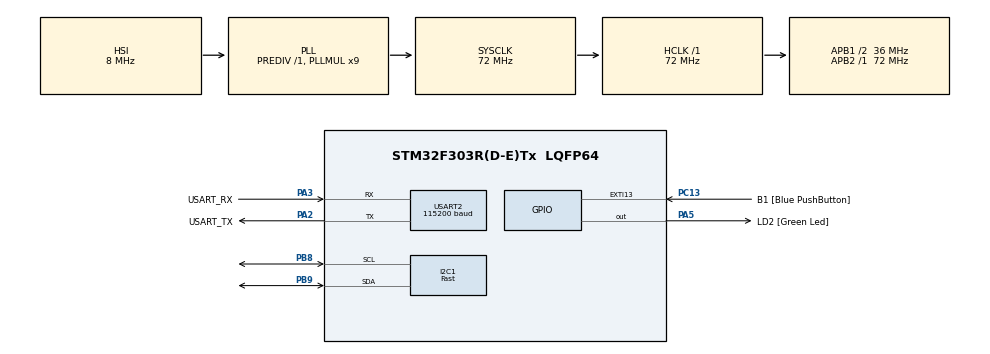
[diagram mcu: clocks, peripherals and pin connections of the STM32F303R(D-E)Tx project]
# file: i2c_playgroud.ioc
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I2C1.I2C_Speed_Mode=I2C_Fast
I2C1.Timing=0x0000020B
Mcu.Family=STM32F3
Mcu.Name=STM32F303R(D-E)Tx
Mcu.Package=LQFP64
NVIC.PriorityGroup=NVIC_PRIORITYGROUP_0
PA13.GPIO_Label=TMS
PA13.Mode=Serial_Wire
PA13.Signal=SYS_JTMS-SWDIO
PA14.GPIO_Label=TCK
PA14.Mode=Serial_Wire
PA14.Signal=SYS_JTCK-SWCLK
PA2.GPIO_Label=USART_TX
PA2.GPIO_Mode=GPIO_MODE_AF_PP
PA2.GPIO_PuPd=GPIO_NOPULL
PA2.GPIO_Speed=GPIO_SPEED_FREQ_LOW
PA2.Mode=Asynchronous
PA2.Signal=USART2_TX
PA3.GPIO_Label=USART_RX
PA3.GPIO_Mode=GPIO_MODE_AF_PP
PA3.GPIO_PuPd=GPIO_NOPULL
PA3.GPIO_Speed=GPIO_SPEED_FREQ_LOW
PA3.Mode=Asynchronous
PA3.Signal=USART2_RX
PA5.GPIO_Label=LD2 [Green Led]
PA5.GPIO_Mode=GPIO_MODE_OUTPUT_PP
PA5.GPIO_PuPd=GPIO_NOPULL
PA5.GPIO_Speed=GPIO_SPEED_FREQ_LOW
PA5.Signal=GPIO_Output
PB3.GPIO_Label=SWO
PB3.Signal=SYS_JTDO-TRACESWO
PB8.Mode=I2C
PB8.Signal=I2C1_SCL
PB9.Mode=I2C
PB9.Signal=I2C1_SDA
PC13.GPIO_Label=B1 [Blue PushButton]
PC13.GPIO_ModeDefaultEXTI=GPIO_MODE_IT_FALLING
PC13.Signal=GPXTI13
PC14-OSC32_IN.Mode=LSE-External-Oscillator
PC14-OSC32_IN.Signal=RCC_OSC32_IN
PC15-OSC32_OUT.Mode=LSE-External-Oscillator
PC15-OSC32_OUT.Signal=RCC_OSC32_OUT
PF0-OSC_IN.Mode=HSE-External-Clock-Source
PF0-OSC_IN.Signal=RCC_OSC_IN
PF1-OSC_OUT.Signal=RCC_OSC_OUT
ProjectManager.HeapSize=0x200
ProjectManager.StackSize=0x400
ProjectManager.TargetToolchain=STM32CubeIDE
RCC.AHBFreq_Value=72000000
RCC.APB1CLKDivider=RCC_HCLK_DIV2
RCC.APB1Freq_Value=36000000
RCC.APB1TimFreq_Value=72000000
RCC.APB2Freq_Value=72000000
RCC.APB2TimFreq_Value=72000000
RCC.CortexFreq_Value=72000000
RCC.HCLKFreq_Value=72000000
RCC.HSE_VALUE=8000000
RCC.HSI_VALUE=8000000
RCC.PLLM=8
RCC.PLLMUL=RCC_PLL_MUL9
RCC.PLLN=336
RCC.PLLP=RCC_PLLP_DIV4
RCC.PLLQ=7
RCC.RCC_PLLsource_Clock_Source_FROM_HSE=RCC_HSE_PREDIV_DIV2
RCC.SYSCLKFreq_VALUE=72000000
RCC.SYSCLKSourceVirtual=RCC_SYSCLKSOURCE_PLLCLK
RCC.USBFreq_Value=72000000
USART2.BaudRate=115200
USART2.VirtualMode-Asynchronous=VM_ASYNC
board=NUCLEO-F303RE

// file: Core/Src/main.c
/* USER CODE BEGIN Header */
/**
  ******************************************************************************
  * @file           : main.c
  * @brief          : Main program body
  ******************************************************************************
  * @attention
  *
  * Copyright (c) 2024 STMicroelectronics.
  * All rights reserved.
  *
  * This software is licensed under terms that can be found in the LICENSE file
  * in the root directory of this software component.
  * If no LICENSE file comes with this software, it is provided AS-IS.
  *
  ******************************************************************************
  */
/* USER CODE END Header */
#include "main.h"
#include "i2c.h"
#include "usart.h"
#include "gpio.h"

/* USER CODE BEGIN Includes */
#include <string.h>
#include <stdio.h>
#include "BME280.h"
/* USER CODE END Includes */

/* USER CODE BEGIN PV */
char str1[100];
/* USER CODE END PV */

void SystemClock_Config(void);

int main(void)
{

  /* USER CODE BEGIN 1 */
	float temperature = 0.0f, preasure = 0.0f, humidity = 0.0f, altitude = 0.0f;
  /* USER CODE END 1 */

  /* MCU Configuration--------------------------------------------------------*/

  /* Reset of all peripherals, Initializes the Flash interface and the Systick. */
  HAL_Init();

  /* Configure the system clock */
  SystemClock_Config();

  /* Initialize all configured peripherals */
  MX_GPIO_Init();
  MX_USART2_UART_Init();
  MX_I2C1_Init();
  /* USER CODE BEGIN 2 */
  BME280_Init();
  /* USER CODE END 2 */

  /* Infinite loop */
  /* USER CODE BEGIN WHILE */
  while (1)
  {
//	  HAL_GPIO_TogglePin(LD2_GPIO_Port, LD2_Pin);
//	  HAL_UART_Transmit(&huart2, (uint8_t*)"HEllo\r\n", strlen("HEllo\r\n"), 1000);
//	  HAL_Delay(1000);
	  temperature = BME280_ReadTemperature();
	  preasure = BME280_ReadPressure();
	  humidity = BME280_ReadHumidity();
	  altitude = BME280_ReadAltitude(SEALEVELPRESSURE_PA);
	  sprintf(str1, "Temperature: %.2f *C\r\n", temperature);
	  HAL_UART_Transmit(&huart2, (uint8_t*)str1, strlen(str1), 1000);

	  sprintf(str1, "Preasure: %.2f PA\r\n", preasure);
	  HAL_UART_Transmit(&huart2, (uint8_t*)str1, strlen(str1), 1000);

	  sprintf(str1, "Humidity: %.2f (%)\r\n", humidity);
	  HAL_UART_Transmit(&huart2, (uint8_t*)str1, strlen(str1), 1000);

	  sprintf(str1, "Altitude: %.2f M\r\n", altitude);
	  HAL_UART_Transmit(&huart2, (uint8_t*)str1, strlen(str1), 1000);

	  HAL_UART_Transmit(&huart2, (uint8_t*)"-----------------------------------\r\n", strlen("-----------------------------------\r\n"), 1000);

	  HAL_GPIO_TogglePin(LD2_GPIO_Port, LD2_Pin);
	  HAL_Delay(1000);
    /* USER CODE END WHILE */

  }
}

void SystemClock_Config(void)
{
  RCC_OscInitTypeDef RCC_OscInitStruct = {0};
  RCC_ClkInitTypeDef RCC_ClkInitStruct = {0};
  RCC_PeriphCLKInitTypeDef PeriphClkInit = {0};

  /** Initializes the RCC Oscillators according to the specified parameters
  * in the RCC_OscInitTypeDef structure.
  */
  RCC_OscInitStruct.OscillatorType = RCC_OSCILLATORTYPE_HSI;
  RCC_OscInitStruct.HSIState = RCC_HSI_ON;
  RCC_OscInitStruct.HSICalibrationValue = RCC_HSICALIBRATION_DEFAULT;
  RCC_OscInitStruct.PLL.PLLState = RCC_PLL_ON;
  RCC_OscInitStruct.PLL.PLLSource = RCC_PLLSOURCE_HSI;
  RCC_OscInitStruct.PLL.PLLMUL = RCC_PLL_MUL9;
  RCC_OscInitStruct.PLL.PREDIV = RCC_PREDIV_DIV1;
  if (HAL_RCC_OscConfig(&RCC_OscInitStruct) != HAL_OK)
  {
    Error_Handler();
  }

  /** Initializes the CPU, AHB and APB buses clocks
  */
  RCC_ClkInitStruct.ClockType = RCC_CLOCKTYPE_HCLK|RCC_CLOCKTYPE_SYSCLK
                              |RCC_CLOCKTYPE_PCLK1|RCC_CLOCKTYPE_PCLK2;
  RCC_ClkInitStruct.SYSCLKSource = RCC_SYSCLKSOURCE_PLLCLK;
  RCC_ClkInitStruct.AHBCLKDivider = RCC_SYSCLK_DIV1;
  RCC_ClkInitStruct.APB1CLKDivider = RCC_HCLK_DIV2;
  RCC_ClkInitStruct.APB2CLKDivider = RCC_HCLK_DIV1;

  if (HAL_RCC_ClockConfig(&RCC_ClkInitStruct, FLASH_LATENCY_2) != HAL_OK)
  {
    Error_Handler();
  }
  PeriphClkInit.PeriphClockSelection = RCC_PERIPHCLK_USART2|RCC_PERIPHCLK_I2C1;
  PeriphClkInit.Usart2ClockSelection = RCC_USART2CLKSOURCE_PCLK1;
  PeriphClkInit.I2c1ClockSelection = RCC_I2C1CLKSOURCE_HSI;
  if (HAL_RCCEx_PeriphCLKConfig(&PeriphClkInit) != HAL_OK)
  {
    Error_Handler();
  }
}

void Error_Handler(void)
{
  __disable_irq();
  while (1)
  {
  }
}
